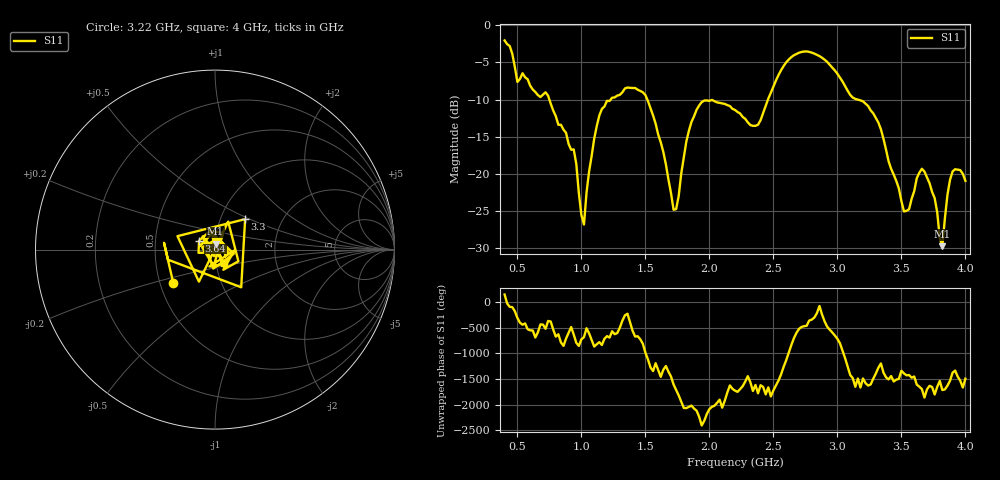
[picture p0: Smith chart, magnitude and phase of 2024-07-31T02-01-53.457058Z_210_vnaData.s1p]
!Created with skrf (http://scikit-rf.org).
# Hz S RI R 50.0
!freq ReS11 ImS11
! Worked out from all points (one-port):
!   181 points, 400 MHz to 4 GHz, reference 50 ohm
!   lowest |S11| = -29.7 dB at 3.82 GHz (marker M1), VSWR 1.07, Z = 50.2 + j3.27 ohm
!   |S11| at or under -10 dB: 749.9 MHz to 1.228 GHz (478.1 MHz wide, 48.3 % of centre); 1.515 GHz to 2.457 GHz (942 MHz wide, 47.4 % of centre); 3.162 GHz to end of sweep
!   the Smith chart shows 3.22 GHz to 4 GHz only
!   S11 on the Smith chart (normalised r, x): 3.22 GHz: 0.59, -0.24; 3.3 GHz: 1.31, +0.47; 3.64 GHz: 0.83, +0.09; 4 GHz: 1.10, -0.16
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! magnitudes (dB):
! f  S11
! 400 MHz  -2.0
! 500 MHz  -7.6
! 720 MHz  -9.0
! 860 MHz  -14.0
! 940 MHz  -16.7
! 1.02 GHz  -26.8
! 1.06 GHz  -19.7
! 1.14 GHz  -12.1
! 1.3 GHz  -9.4
! 1.5 GHz  -9.4
! 1.72 GHz  -24.8
! 1.76 GHz  -23.0
! 1.82 GHz  -15.6
! 1.92 GHz  -10.8
! 2.2 GHz  -11.4
! 2.38 GHz  -13.4
! 2.66 GHz  -4.0
! 2.88 GHz  -4.4
! 3.1 GHz  -9.4
! 3.22 GHz  -10.5
! 3.3 GHz  -12.4
! 3.52 GHz  -25.0
! 3.56 GHz  -24.7
! 3.64 GHz  -19.8
! 3.76 GHz  -23.2
! 3.82 GHz  -29.7
! 3.9 GHz  -19.7
! 4 GHz  -20.9
